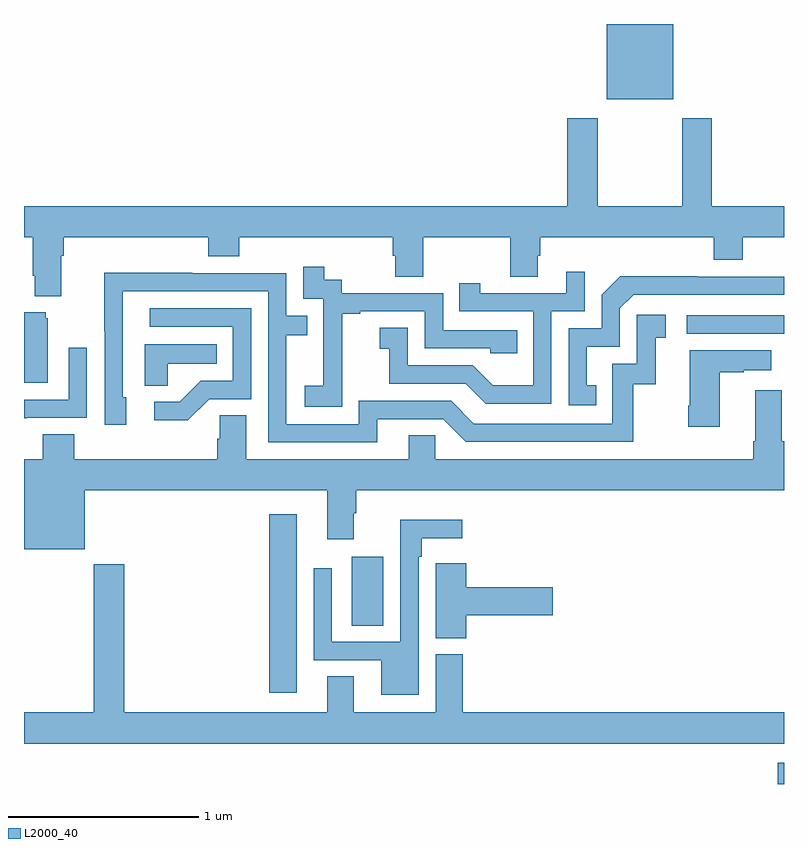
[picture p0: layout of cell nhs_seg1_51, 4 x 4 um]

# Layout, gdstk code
import gdstk
lib = gdstk.Library(unit=1e-6, precision=1e-09)
def R(c, l, rs):  # rectangles x0, y0, x1, y1
    for r in rs: c.add(gdstk.rectangle(r[:2], r[2:], *l))
def P(c, l, *ps):  # polygons
    for p in ps: c.add(gdstk.Polygon(p, *l))
L2000_40 = (2000, 40)

nhs_seg1_51 = lib.new_cell('nhs_seg1_51')
R(nhs_seg1_51, L2000_40, [(116.966,538.199,117,538.312), (114.29,538.68,114.436,539.62), (114.725,539.032,114.892,539.395), (116.487,540.57,117,540.666), (116.066,541.802,116.416,542.199)])
P(nhs_seg1_51, L2000_40, [(113.197,540.98),(113.21,540.98),(113.21,541.076),(113.969,541.076),(113.969,540.977),(114.134,540.977),(114.134,541.076),(114.941,541.076),(114.941,540.978),(114.953,540.978),(114.953,540.868),(115.101,540.868),(115.101,541.076),(115.558,541.076),(115.558,540.868),(115.705,540.868),(115.705,540.978),(115.718,540.978),(115.718,541.076),(116.63,541.076),(116.63,540.959),(116.782,540.959),(116.782,541.076),(117,541.076),(117,541.24),(116.619,541.24),(116.619,541.702),(116.464,541.702),(116.464,541.24),(116.019,541.24),(116.019,541.702),(115.859,541.702),(115.859,541.24),(113,541.24),(113,541.076),(113.045,541.076),(113.045,540.874),(113.057,540.874),(113.057,540.767),(113.197,540.767)],
  [(114.675,540.391),(114.674,540.391),(114.674,540.675),(114.769,540.675),(114.769,540.687),(115.11,540.687),(115.11,540.492),(115.455,540.492),(115.455,540.465),(115.595,540.465),(115.595,540.588),(115.206,540.588),(115.206,540.783),(114.672,540.783),(114.672,540.852),(114.58,540.852),(114.58,540.922),(114.471,540.922),(114.471,540.753),(114.576,540.753),(114.576,540.524),(114.575,540.524),(114.575,540.295),(114.477,540.295),(114.477,540.185),(114.675,540.185)],
  [(115.776,540.687),(115.95,540.687),(115.95,540.895),(115.853,540.895),(115.853,540.783),(115.402,540.783),(115.402,540.835),(115.291,540.835),(115.291,540.687),(115.68,540.687),(115.68,540.298),(115.466,540.298),(115.362,540.402),(115.02,540.402),(115.02,540.601),(114.873,540.601),(114.873,540.491),(114.922,540.491),(114.922,540.306),(115.325,540.306),(115.43,540.201),(115.776,540.201)],
  [(114.859,540.12),(115.206,540.12),(115.326,540),(116.206,540),(116.206,540.303),(116.324,540.303),(116.324,540.549),(116.377,540.549),(116.377,540.67),(116.226,540.67),(116.226,540.411),(116.097,540.411),(116.097,540.096),(115.368,540.096),(115.248,540.216),(114.762,540.216),(114.762,540.093),(114.381,540.093),(114.381,540.562),(114.491,540.562),(114.491,540.663),(114.381,540.663),(114.381,540.888),(113.885,540.888),(113.885,540.89),(113.422,540.89),(113.422,540.583),(113.424,540.583),(113.424,540.09),(113.539,540.09),(113.539,540.234),(113.52,540.234),(113.52,540.792),(114.285,540.792),(114.285,539.997),(114.859,539.997)],
  [(116.012,540.297),(115.963,540.297),(115.963,540.501),(116.136,540.501),(116.136,540.702),(116.208,540.774),(117,540.774),(117,540.87),(116.546,540.87),(116.546,540.872),(116.138,540.872),(116.04,540.774),(116.04,540.597),(115.866,540.597),(115.866,540.192),(116.012,540.192)],
  [(113.976,540.225),(114.195,540.225),(114.195,540.702),(113.661,540.702),(113.661,540.606),(114.099,540.606),(114.099,540.321),(113.93,540.321),(113.819,540.21),(113.685,540.21),(113.685,540.113),(113.863,540.113)],
  [(113.125,540.651),(113.114,540.651),(113.114,540.682),(113,540.682),(113,540.311),(113.125,540.311)],
  [(113.757,540.41),(114.014,540.41),(114.014,540.514),(113.636,540.514),(113.636,540.295),(113.757,540.295)],
  [(113.015,540.126),(113.331,540.126),(113.331,540.496),(113.235,540.496),(113.235,540.222),(113,540.222),(113,540.125),(113.015,540.125)],
  [(116.662,540.367),(116.789,540.367),(116.789,540.377),(116.932,540.377),(116.932,540.481),(116.504,540.481),(116.504,540.19),(116.497,540.19),(116.497,540.078),(116.662,540.078)],
  [(113.32,539.744),(114.596,539.744),(114.596,539.487),(114.736,539.487),(114.736,539.624),(114.749,539.624),(114.749,539.744),(117,539.744),(117,540.004),(116.989,540.004),(116.989,540.271),(116.849,540.271),(116.849,540.004),(116.837,540.004),(116.837,539.908),(115.164,539.908),(115.164,540.035),(115.025,540.035),(115.025,539.908),(114.169,539.908),(114.169,540.14),(114.03,540.14),(114.03,540.017),(114.017,540.017),(114.017,539.908),(113.264,539.908),(113.264,540.041),(113.099,540.041),(113.099,539.908),(113,539.908),(113,539.435),(113.32,539.435)],
  [(115.077,539.396),(115.093,539.396),(115.093,539.492),(115.306,539.492),(115.306,539.59),(114.981,539.59),(114.981,538.947),(114.621,538.947),(114.621,539.335),(114.525,539.335),(114.525,538.851),(114.881,538.851),(114.881,538.67),(115.077,538.67)],
  [(115.328,539.087),(115.783,539.087),(115.783,539.234),(115.328,539.234),(115.328,539.362),(115.167,539.362),(115.167,539.249),(115.166,539.249),(115.166,538.966),(115.328,538.966)],
  [(117,538.576),(115.31,538.576),(115.31,538.881),(115.166,538.881),(115.166,538.576),(114.736,538.576),(114.736,538.766),(114.596,538.766),(114.596,538.576),(113.528,538.576),(113.528,539.356),(113.368,539.356),(113.368,538.576),(113,538.576),(113,538.412),(117,538.412)])

lib.write_gds('nhs_seg1_51.gds')
